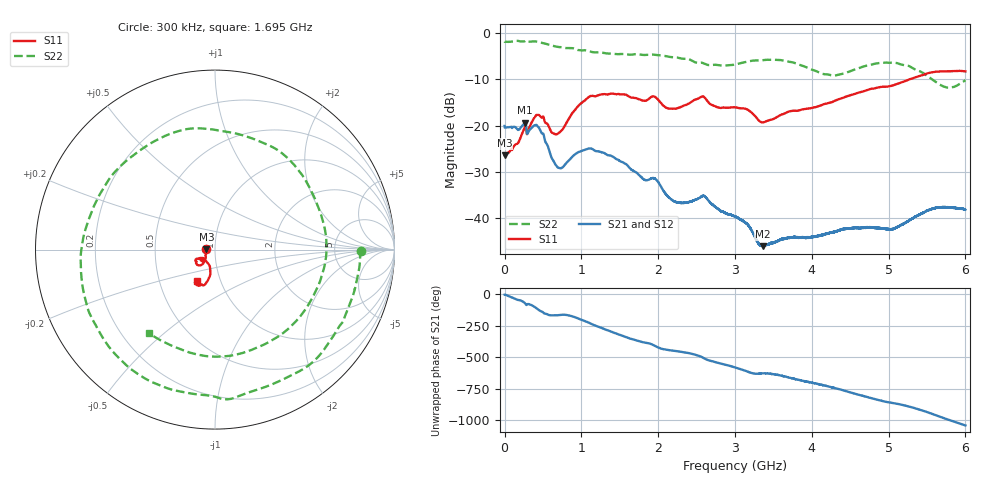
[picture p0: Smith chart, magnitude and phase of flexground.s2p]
!  8/6/2020  03:35:34
! Ref Plane: 0.000 mm
# MHZ S MA R  50
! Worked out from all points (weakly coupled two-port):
!   10001 points, 300 kHz to 6 GHz, reference 50 ohm
!   highest |S21| = -19.37 dB at 269.7 MHz (marker M1); lowest = -46.2 dB at 3.363 GHz (marker M2)
!   lowest |S11| = -26.5 dB at 300 kHz (marker M3), VSWR 1.10, Z = 45.5 + j0.0762 ohm
!   |S11| at or under -10 dB: start of sweep to 5.269 GHz
!   |S22| runs from -11.8 to -1.5 dB; largest |S21 - S12| = 0.0026
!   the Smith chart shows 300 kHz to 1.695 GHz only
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0.3  0.04744 179.0  0.09897 -1.0  0.09638 -0.9  0.8151 -0.4
269.6865  0.09863 -140.8  0.1075 -72.0  0.1076 -72.2  0.8265 -80.6
590.0705  0.09165 -149.2  0.05083 -165.5  0.05094 -165.5  0.75 -176.5
827.0587  0.1148 -103.5  0.04119 -165.5  0.04122 -165.6  0.692 119.3
1000.45  0.1755 -103.0  0.05296 158.8  0.05299 158.8  0.653 70.1
1252.437  0.2172 -112.9  0.05172 96.3  0.05175 96.2  0.6204 -2.8
1530.823  0.2187 -119.2  0.04021 32.3  0.04025 32.3  0.5972 -83.3
1775.611  0.1896 -118.2  0.0278 -16.7  0.02783 -16.8  0.5876 -149.4
2000.6  0.1901 -120.9  0.02436 -61.8  0.02439 -62.0  0.5797 152.8
2259.787  0.1551 -100.3  0.01463 -92.7  0.01466 -92.7  0.5437 86.7
2548.973  0.2021 -93.6  0.01667 -132.7  0.01669 -132.9  0.4818 5.8
2781.761  0.157 -93.0  0.01246 175.2  0.01245 175.2  0.4533 -65.6
3000.15  0.1576 -84.2  0.01027 138.9  0.0103 139.1  0.4587 -132.3
3363.132  0.108 -68.0  0.00492 92.5  0.004965 92.1  0.5115 133.6
3630.119  0.1336 -42.4  0.005887 70.3  0.005914 70.1  0.5065 72.0
4000.3  0.1552 -26.7  0.006209 17.8  0.006207 18.1  0.4045 -23.4
4230.088  0.1765 -15.4  0.006826 -14.3  0.006859 -14.4  0.3551 -97.4
4502.475  0.2131 -7.5  0.007703 -59.6  0.007688 -60.0  0.3888 173.6
5000.45  0.2657 -0.3  0.007511 -138.7  0.007484 -138.6  0.4794 53.4
5260.237  0.314 5.2  0.00924 -171.3  0.009272 -171.6  0.4437 -2.3
5527.224  0.3721 3.9  0.01218 138.0  0.01214 138.0  0.3343 -70.3
6000  0.3868 -6.0  0.01223 37.3  0.01229 37.4  0.3101 120.5
